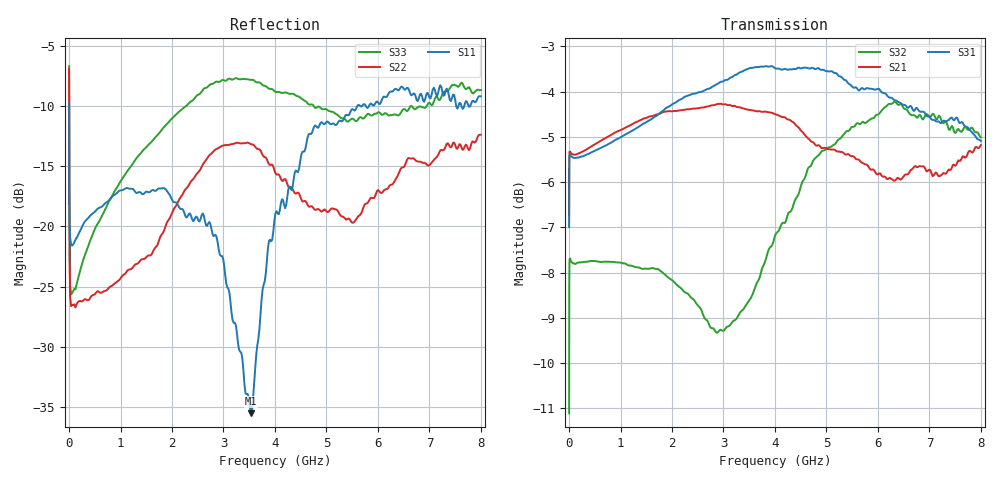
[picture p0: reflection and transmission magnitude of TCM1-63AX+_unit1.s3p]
!Created: 12-07-2012 at 15:55:32
!MODEL: TCM1-63AX+
! ED15043/5
!S/N: Unit 1
! Port1-Pin 3( Pri DOT), Port 2-Pin 6 (SEC DOT) and Port 3-Pin 4 (Secondary), Groung -Pin Pi2 (Primary), Not used Pins 1 & 5
! Port Extension Performed
# MHz S dB R 50
!Frequency  S11 dB  S11 DEG  S12 dB  S12 DEG  S13 dB  S13 DEG
!  S21 dB  S21 DEG  S22 dB  S22 DEG  S23 dB  S23 DEG
!  S31 dB  S31 DEG  S32 dB  S32 DEG  S33 dB  S33 DEG
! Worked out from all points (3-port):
!   400 points, 1 MHz to 8 GHz, reference 50 ohm
!   strongest paths, dB at 1 MHz, 1.786 GHz, 3.865 GHz, 5.943 GHz, 8 GHz:
!     S31: -7.0, -4.5, -3.4, -4.0, -5.1
!     S21: -6.7, -4.5, -4.5, -5.8, -5.2
!     S32: -11.1, -8.0, -7.5, -4.5, -5.0
!   lowest |S11| = -35.5 dB at 3.532 GHz (marker M1), VSWR 1.03, Z = 51.6 + j0.69 ohm
!   |S11| at or under -10 dB: 1.057 MHz to 5.602 GHz (5.601 GHz wide, 200 % of centre); 5.765 GHz to 5.827 GHz (62.57 MHz wide, 1.08 % of centre); 7.52 GHz to 7.564 GHz (43.82 MHz wide, 0.581 % of centre)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
1  -9.79 114.7  -6.75 18.4  -7.00 -160.7
   -6.75 18.2  -6.94 136.9  -11.13 34.7
   -6.99 -161.0  -11.11 34.6  -6.70 137.8
5  -17.93 58.8  -5.43 5.4  -5.52 -174.2
   -5.42 5.3  -16.35 117.9  -8.02 11.8
   -5.51 -174.2  -8.01 11.8  -15.92 119.0
13.6  -20.43 24.7  -5.33 1.5  -5.40 -178.4
      -5.32 1.5  -23.85 128.1  -7.70 4.1
      -5.39 -178.4  -7.69 4.1  -23.08 128.6
40.7813  -21.54 9.6  -5.38 -0.4  -5.44 179.3
         -5.37 -0.4  -26.62 156.9  -7.76 0.8
         -5.43 179.3  -7.75 0.8  -25.65 152.5
2596.875  -18.92 -55.1  -4.36 -62.8  -3.98 104.3
          -4.35 -62.9  -14.87 12.1  -8.96 -7.1
          -3.99 104.4  -8.91 -7.8  -8.67 18.0
3532.031  -35.52 23.5  -4.43 -90.0  -3.54 75.6
          -4.41 -90.3  -13.17 4.9  -8.51 3.6
          -3.48 75.6  -8.56 3.2  -7.83 -0.3
4010  -18.89 116.6  -4.52 -105.4  -3.42 60.9
      -4.50 -105.6  -15.59 6.3  -7.15 5.1
      -3.49 61.1  -7.16 4.1  -8.83 -6.1
4778.906  -11.62 98.2  -5.18 -128.7  -3.63 37.7
          -5.17 -129.1  -18.63 19.8  -5.57 -4.2
          -3.51 37.3  -5.48 -4.4  -10.16 -10.0
6005  -9.72 56.4  -5.83 -165.6  -4.13 3.4
      -5.83 -165.9  -16.99 35.6  -4.72 -21.7
      -3.94 2.8  -4.51 -21.6  -10.52 -13.8
8000  -9.20 -3.5  -5.22 127.0  -5.19 -51.8
      -5.18 126.8  -12.39 11.0  -4.96 -53.4
      -5.09 -49.7  -5.01 -52.1  -8.68 -34.2
